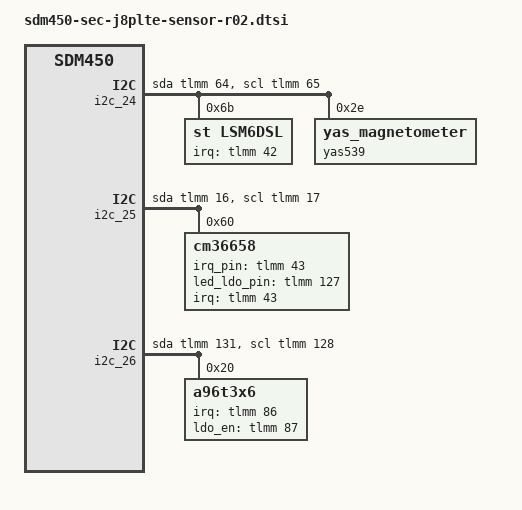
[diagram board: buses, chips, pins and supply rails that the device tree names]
/* Copyright (c) 2017, The Linux Foundation. All rights reserved.
 *
 * This program is free software; you can redistribute it and/or modify
 * it under the terms of the GNU General Public License version 2 and
 * only version 2 as published by the Free Software Foundation.
 *
 * This program is distributed in the hope that it will be useful,
 * but WITHOUT ANY WARRANTY; without even the implied warranty of
 * MERCHANTABILITY or FITNESS FOR A PARTICULAR PURPOSE.  See the
 * GNU General Public License for more details.
 */

&soc {
	tlmm: pinctrl@1000000 {
		acc_int: acc_int {
			mux {
				pins = "gpio42";
				function = "gpio";
			};
			config {
				pins = "gpio42";
				drive-strength = <2>;
				bias-disable;
			};
		};

		sensor_i2c: sensor_i2c {
			mux {
				pins = "gpio64", "gpio65";
				function = "gpio";
			};
			config {
				pins = "gpio64", "gpio65";
				drive-strength = <2>;
				bias-disable;
			};
		};

		prox_int: prox_int {
			mux {
				pins = "gpio43";
				function = "gpio";
			};
			config {
				pins = "gpio43";
				drive-strength = <2>;
				bias-disable;
			};
		};

		prox_ldo_en: prox_ldo_en {
			mux {
				pins = "gpio127";
				function = "gpio";
			};
			config {
				pins = "gpio127";
				drive-strength = <2>;
				bias-disable;
			};
		};

		prox_i2c: prox_i2c {
			mux {
				pins = "gpio16", "gpio17";
				function = "gpio";
			};
			config {
				pins = "gpio16", "gpio17";
				drive-strength = <2>;
				bias-disable;
			};
		};

		grip_int: grip_int {
			mux {
				pins = "gpio86";
				function = "gpio";
			};
			config {
				pins = "gpio86";
				drive-strength = <2>;
				bias-disable;
			};
		};

		grip_i2c: grip_i2c {
			mux {
				pins = "gpio128", "gpio131";
				function = "gpio";
			};
			config {
				pins = "gpio128", "gpio131";
				drive-strength = <2>;
				bias-disable;
			};
		};
	};

	i2c_24: i2c@24 { /* SW I2C */
		cell-index = <24>;
		compatible = "i2c-gpio";
		gpios = <&tlmm 64 0 /* sda */
			&tlmm 65 0 /* scl */
		>;
		#i2c-gpio,delay-us = <2>;
		#address-cells = <1>;
		#size-cells = <0>;

		lsm6dsl@6b {
			compatible = "st,lsm6dsl";
			reg = <0x6b>;
			pinctrl-names = "default";
			pinctrl-0 = <&acc_int &sensor_i2c>;
			interrupt-parent = <&tlmm>;
			interrupts = <42 0>;
			st,orientation = <2 1 1 1 2 1 1 1 2>;
			st,drdy-int-pin = <1>;
			st,irq_gpio = <&tlmm 42 0x00>;
		};

		yas539@2e {
			compatible = "yas_magnetometer";
			reg = <0x2e>;
			yas,orientation = <6>;
			yas,softiron = <9260 100 133 100 10327 190 133 190 10413>;
			yas,softiron_sign = <2 0 0 0 2 0 0 0 2>;
		};
	};

	i2c_25: i2c@25 { /* SW I2C */
		cell-index = <25>;
		compatible = "i2c-gpio";
		gpios = <&tlmm 16 0/* sda */
			&tlmm 17 0/* scl */
		>;
		#i2c-gpio,delay-us = <2>;
		#address-cells = <1>;
		#size-cells = <0>;

		cm36658@60 {
			compatible = "cm36658";
			reg = <0x60>;
			pinctrl-names = "default";
			pinctrl-0 = <&prox_int &prox_ldo_en &prox_i2c>;
			interrupt-parent = <&tlmm>;
			interrupts = <43 0>;
			cm36658,irq_pin = <&tlmm 43 0>;
			cm36658,led_ldo_pin = <&tlmm 127 0>;
			cm36658,thresh_high = <130>;
			cm36658,thresh_low = <90>;
			cm36658,thresh_detect_high = <4000>;
			cm36658,thresh_detect_low = <600>;
			cm36658,ps_conf1_reg = <0xc930>;
			cm36658,ps_conf3_reg = <0x8108>;
		};
	};

	i2c_26: i2c@26 { /* SW I2C */
		cell-index = <26>;
		compatible = "i2c-gpio";
		gpios = <&tlmm 131 0/* sda */
			&tlmm 128 0/* scl */
		>;
		#i2c-gpio,delay-us = <2>;
		#address-cells = <1>;
		#size-cells = <0>;

		a96t3x6@20 {
			compatible = "a96t3x6";
			pinctrl-names = "default";
			pinctrl-0 = <&grip_int &grip_i2c>;
			reg = <0x20>;
			interrupt-parent = <&tlmm>;
			interrupts = <86 0>;
			a96t3x6,irq_gpio = <&tlmm 86 0>;
			a96t3x6,ldo_en = <&tlmm 87 0>;
			a96t3x6,fw_path = "abov/a96t326_j8plte.fw";
			a96t3x6,chipid = "A96T326";
			a96t3x6,firmup_cmd = <0x32>;
		};
	};
};
